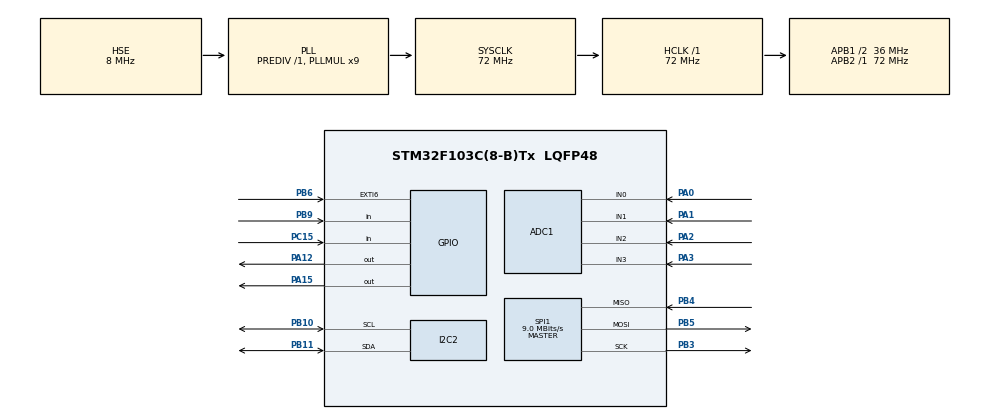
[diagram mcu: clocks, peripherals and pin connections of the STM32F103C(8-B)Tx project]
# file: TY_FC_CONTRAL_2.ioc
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ADC1.Channel-0\#ChannelRegularConversion=ADC_CHANNEL_0
ADC1.Channel-1\#ChannelRegularConversion=ADC_CHANNEL_1
ADC1.Channel-2\#ChannelRegularConversion=ADC_CHANNEL_2
ADC1.Channel-3\#ChannelRegularConversion=ADC_CHANNEL_3
ADC1.ContinuousConvMode=ENABLE
ADC1.NbrOfConversion=4
ADC1.NbrOfConversionFlag=1
ADC1.Rank-0\#ChannelRegularConversion=1
ADC1.Rank-1\#ChannelRegularConversion=2
ADC1.Rank-2\#ChannelRegularConversion=3
ADC1.Rank-3\#ChannelRegularConversion=4
ADC1.SamplingTime-0\#ChannelRegularConversion=ADC_SAMPLETIME_13CYCLES_5
ADC1.SamplingTime-1\#ChannelRegularConversion=ADC_SAMPLETIME_13CYCLES_5
ADC1.SamplingTime-2\#ChannelRegularConversion=ADC_SAMPLETIME_13CYCLES_5
ADC1.SamplingTime-3\#ChannelRegularConversion=ADC_SAMPLETIME_13CYCLES_5
ADC1.master=1
Dma.ADC1.0.Direction=DMA_PERIPH_TO_MEMORY
Dma.ADC1.0.Instance=DMA1_Channel1
Dma.ADC1.0.MemDataAlignment=DMA_MDATAALIGN_HALFWORD
Dma.ADC1.0.MemInc=DMA_MINC_ENABLE
Dma.ADC1.0.Mode=DMA_CIRCULAR
Dma.ADC1.0.PeriphDataAlignment=DMA_PDATAALIGN_HALFWORD
Dma.ADC1.0.PeriphInc=DMA_PINC_DISABLE
Dma.ADC1.0.Priority=DMA_PRIORITY_MEDIUM
Dma.Request0=ADC1
Mcu.Family=STM32F1
Mcu.Name=STM32F103C(8-B)Tx
Mcu.Package=LQFP48
NVIC.DMA1_Channel1_IRQn=true\:0\:0\:false\:false\:true\:false\:true\:true
NVIC.PriorityGroup=NVIC_PRIORITYGROUP_4
PA0-WKUP.Signal=SharedAnalog_PA0
PA1.Signal=SharedAnalog_PA1
PA12.Signal=GPIO_Output
PA15.Signal=GPIO_Output
PA2.Signal=SharedAnalog_PA2
PA3.Signal=SharedAnalog_PA3
PB10.Mode=I2C
PB10.Signal=I2C2_SCL
PB11.Mode=I2C
PB11.Signal=I2C2_SDA
PB3.Mode=Full_Duplex_Master
PB3.Signal=SPI1_SCK
PB4.Mode=Full_Duplex_Master
PB4.Signal=SPI1_MISO
PB5.Mode=Full_Duplex_Master
PB5.Signal=SPI1_MOSI
PB6.Signal=GPXTI6
PB9.Signal=GPIO_Input
PC15-OSC32_OUT.Signal=GPIO_Input
PD0-OSC_IN.Mode=HSE-External-Oscillator
PD0-OSC_IN.Signal=RCC_OSC_IN
PD1-OSC_OUT.Mode=HSE-External-Oscillator
PD1-OSC_OUT.Signal=RCC_OSC_OUT
ProjectManager.HeapSize=0x200
ProjectManager.StackSize=0x400
ProjectManager.TargetToolchain=MDK-ARM V5.32
RCC.ADCPresc=RCC_ADCPCLK2_DIV6
RCC.AHBFreq_Value=72000000
RCC.APB1CLKDivider=RCC_HCLK_DIV2
RCC.APB1Freq_Value=36000000
RCC.APB1TimFreq_Value=72000000
RCC.APB2Freq_Value=72000000
RCC.APB2TimFreq_Value=72000000
RCC.HCLKFreq_Value=72000000
RCC.PLLMUL=RCC_PLL_MUL9
RCC.PLLSourceVirtual=RCC_PLLSOURCE_HSE
RCC.SYSCLKFreq_VALUE=72000000
RCC.SYSCLKSource=RCC_SYSCLKSOURCE_PLLCLK
RCC.USBFreq_Value=72000000
SH.SharedAnalog_PA0.0=GPIO_Analog
SH.SharedAnalog_PA0.1=ADC1_IN0,IN0
SH.SharedAnalog_PA1.0=GPIO_Analog
SH.SharedAnalog_PA1.1=ADC1_IN1,IN1
SH.SharedAnalog_PA2.0=GPIO_Analog
SH.SharedAnalog_PA2.1=ADC1_IN2,IN2
SH.SharedAnalog_PA3.0=GPIO_Analog
SH.SharedAnalog_PA3.1=ADC1_IN3,IN3
SPI1.BaudRatePrescaler=SPI_BAUDRATEPRESCALER_8
SPI1.CalculateBaudRate=9.0 MBits/s
SPI1.Direction=SPI_DIRECTION_2LINES
SPI1.Mode=SPI_MODE_MASTER
SPI1.VirtualType=VM_MASTER
VP_SYS_VS_ND.Mode=No_Debug
board=custom

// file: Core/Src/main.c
/* USER CODE BEGIN Header */
/**
  ******************************************************************************
  * @file           : main.c
  * @brief          : Main program body
  ******************************************************************************
  * @attention
  *
  * Copyright (c) 2026 STMicroelectronics.
  * All rights reserved.
  *
  * This software is licensed under terms that can be found in the LICENSE file
  * in the root directory of this software component.
  * If no LICENSE file comes with this software, it is provided AS-IS.
  *
  ******************************************************************************
  */
/* USER CODE END Header */
#include "main.h"

/* USER CODE BEGIN Includes */
#include "ssd1306.h"
#include "NRF24L01.h"
#include "adc.h"
#include <math.h>
/* USER CODE END Includes */

/* USER CODE BEGIN PTD */
#define LOG_BUFFER_SIZE  512
#define OLED_LOG_ROWS 4
#define OLED_LOG_COLS 21
/* USER CODE END PTD */

ADC_HandleTypeDef hadc1;
DMA_HandleTypeDef hdma_adc1;

I2C_HandleTypeDef hi2c2;

SPI_HandleTypeDef hspi1;

/* USER CODE BEGIN PV */
void data_care(float *speed,float *roll,float *pitch);
/* USER CODE END PV */

void SystemClock_Config(void);
static void MX_GPIO_Init(void);
static void MX_DMA_Init(void);
static void MX_ADC1_Init(void);
static void MX_I2C2_Init(void);
static void MX_SPI1_Init(void);
/* USER CODE BEGIN PFP */
  float speed = 0;
  float roll = 0;
  float pitch = 0;
uint8_t exit_status = 0;
uint16_t adc_buffer[4];
//static char oled_log_buf[OLED_LOG_ROWS][OLED_LOG_COLS + 1] = {0};
//static uint8_t oled_log_row_idx = 0;
char oled_str_buf[20] = {0};
/* USER CODE END PFP */

/* USER CODE BEGIN 0 */
 uint8_t tx_addr[5] = {0x12, 0x34, 0x56, 0x78, 0x90};
 void Show_Msg(void);
 void Unsend_Show(void);
/* USER CODE END 0 */

int main(void)
{

  /* MCU Configuration--------------------------------------------------------*/

  /* Reset of all peripherals, Initializes the Flash interface and the Systick. */
  HAL_Init();

  /* Configure the system clock */
  SystemClock_Config();

  /* Initialize all configured peripherals */
  MX_GPIO_Init();
  MX_DMA_Init();
  MX_ADC1_Init();
  MX_I2C2_Init();
  MX_SPI1_Init();
  /* USER CODE BEGIN 2 */
  HAL_Delay(500);
  OLED_Init(hi2c2);
//  NRF_LOGI("STARTTEST");
  OLED_Refresh();

  HAL_ADC_Start_DMA(&hadc1, (uint32_t*)adc_buffer, 4);
  NRF_InitTypeDef nrf_init;
  NRF24L01_GetDefaultConfig(&nrf_init);
  NRF24L01_Init(&hspi1, &nrf_init);
  NRF24L01_SetMode(&hspi1, NRF_MODE_TX);
  unsigned char send_data1[32] = {0};
  uint8_t value = 0;
//  GPIO_PinState pin_state;
  /* USER CODE END 2 */

  /* Infinite loop */
  /* USER CODE BEGIN WHILE */
  while (1)
  {
	HAL_Delay(10);
	speed = 20.0f - ( (float)adc_buffer[2] / 4096.0f ) * 40.0f;
	roll = (float)adc_buffer[1]/4096*20-10;
	pitch = 10.0f - ( (float)adc_buffer[0] / 4096.0f ) * 20.0f;
	data_care(&speed,&roll,&pitch);
	if(fabs(speed)!=0.0||fabs(roll)!=0.0||fabs(pitch)!=0.0)
	{
		value = 1;
		sprintf((char*)send_data1, "%.1f %.1f %.1f", speed, roll, pitch);
		uint8_t send_len = strlen((char*)send_data1);
		NRF24L01_SimpleSend(send_data1,send_len);
		Show_Msg();
	}
	else if(value == 1)
	{
		speed = 0.0f;
		roll = 0.0f;
		pitch = 0.0f;
		sprintf((char*)send_data1, "%.1f %.1f %.1f", speed, roll, pitch);
		uint8_t send_len = strlen((char*)send_data1);
		NRF24L01_SimpleSend(send_data1,send_len);
		Show_Msg();
		value = 0;
	}
  else
  {
    Unsend_Show();
  }
//	  pin_state = HAL_GPIO_ReadPin(GPIOC, GPIO_PIN_15);
//	  if(pin_state == GPIO_PIN_RESET)
//	  {
//		NRF_LOGI("LOW");

//	  }
//	  NRF_LOGI("CH1: %lu", adc_buffer[0]);
//	  NRF_LOGI("CH2: %lu", adc_buffer[1]);
//	  NRF_LOGI("CH3: %lu", adc_buffer[2]);
//	  NRF_LOGI("CH4: %lu", adc_buffer[3]);
//	  if(adc_buffer[0] > 2100 || adc_buffer[0] < 2000 || adc_buffer[1] > 2100 || adc_buffer[1] < 2000 || adc_buffer[2] > 2100 || adc_buffer[2] < 2000)
//	  {

//		sprintf((char*)send_data1, "%.2f %.2f %.2f", speed, roll, pitch);
//		uint8_t send_len = strlen((char*)send_data1);
//		NRF24L01_SimpleSend(send_data1,send_len);
//		NRF_LOGI("SENDMESSAGE");

//		speed = 0;
//		roll = 0;
//		pitch = 0;
//	  }
	  //		NRF_LOGI("Speed: %d", speed);  // 第1行：速度值
//		NRF_LOGI("Roll: %d", roll);    // 第2行：横滚角
//		NRF_LOGI("Pitch: %d", pitch);  // 第3行：俯仰角
//	  else
//	  {
//		speed = 0;
//		roll = 0;
//		pitch = 0;
//		sprintf((char*)send_data1, "%.1f %.1f %.1f", speed, roll, pitch);
//		uint8_t send_len = strlen((char*)send_data1);
//		NRF24L01_SimpleSend(send_data1,send_len);
//		NRF_LOGI("Speed: %d", speed);  // 第1行：速度值
//		NRF_LOGI("Roll: %d", roll);    // 第2行：横滚角
//		NRF_LOGI("Pitch: %d", pitch);  // 第3行：俯仰角
//	  }
//	HAL_Delay(10);
//	HAL_Delay(100);
    /* USER CODE END WHILE */

  }
}

void SystemClock_Config(void)
{
  RCC_OscInitTypeDef RCC_OscInitStruct = {0};
  RCC_ClkInitTypeDef RCC_ClkInitStruct = {0};
  RCC_PeriphCLKInitTypeDef PeriphClkInit = {0};

  /** Initializes the RCC Oscillators according to the specified parameters
  * in the RCC_OscInitTypeDef structure.
  */
  RCC_OscInitStruct.OscillatorType = RCC_OSCILLATORTYPE_HSE;
  RCC_OscInitStruct.HSEState = RCC_HSE_ON;
  RCC_OscInitStruct.HSEPredivValue = RCC_HSE_PREDIV_DIV1;
  RCC_OscInitStruct.HSIState = RCC_HSI_ON;
  RCC_OscInitStruct.PLL.PLLState = RCC_PLL_ON;
  RCC_OscInitStruct.PLL.PLLSource = RCC_PLLSOURCE_HSE;
  RCC_OscInitStruct.PLL.PLLMUL = RCC_PLL_MUL9;
  if (HAL_RCC_OscConfig(&RCC_OscInitStruct) != HAL_OK)
  {
    Error_Handler();
  }

  /** Initializes the CPU, AHB and APB buses clocks
  */
  RCC_ClkInitStruct.ClockType = RCC_CLOCKTYPE_HCLK|RCC_CLOCKTYPE_SYSCLK
                              |RCC_CLOCKTYPE_PCLK1|RCC_CLOCKTYPE_PCLK2;
  RCC_ClkInitStruct.SYSCLKSource = RCC_SYSCLKSOURCE_PLLCLK;
  RCC_ClkInitStruct.AHBCLKDivider = RCC_SYSCLK_DIV1;
  RCC_ClkInitStruct.APB1CLKDivider = RCC_HCLK_DIV2;
  RCC_ClkInitStruct.APB2CLKDivider = RCC_HCLK_DIV1;

  if (HAL_RCC_ClockConfig(&RCC_ClkInitStruct, FLASH_LATENCY_2) != HAL_OK)
  {
    Error_Handler();
  }
  PeriphClkInit.PeriphClockSelection = RCC_PERIPHCLK_ADC;
  PeriphClkInit.AdcClockSelection = RCC_ADCPCLK2_DIV6;
  if (HAL_RCCEx_PeriphCLKConfig(&PeriphClkInit) != HAL_OK)
  {
    Error_Handler();
  }
}

static void MX_ADC1_Init(void)
{

  ADC_ChannelConfTypeDef sConfig = {0};

  /** Common config
  */
  hadc1.Instance = ADC1;
  hadc1.Init.ScanConvMode = ADC_SCAN_ENABLE;
  hadc1.Init.ContinuousConvMode = ENABLE;
  hadc1.Init.DiscontinuousConvMode = DISABLE;
  hadc1.Init.ExternalTrigConv = ADC_SOFTWARE_START;
  hadc1.Init.DataAlign = ADC_DATAALIGN_RIGHT;
  hadc1.Init.NbrOfConversion = 4;
  if (HAL_ADC_Init(&hadc1) != HAL_OK)
  {
    Error_Handler();
  }

  /** Configure Regular Channel
  */
  sConfig.Channel = ADC_CHANNEL_0;
  sConfig.Rank = ADC_REGULAR_RANK_1;
  sConfig.SamplingTime = ADC_SAMPLETIME_13CYCLES_5;
  if (HAL_ADC_ConfigChannel(&hadc1, &sConfig) != HAL_OK)
  {
    Error_Handler();
  }

  /** Configure Regular Channel
  */
  sConfig.Channel = ADC_CHANNEL_1;
  sConfig.Rank = ADC_REGULAR_RANK_2;
  if (HAL_ADC_ConfigChannel(&hadc1, &sConfig) != HAL_OK)
  {
    Error_Handler();
  }

  /** Configure Regular Channel
  */
  sConfig.Channel = ADC_CHANNEL_2;
  sConfig.Rank = ADC_REGULAR_RANK_3;
  if (HAL_ADC_ConfigChannel(&hadc1, &sConfig) != HAL_OK)
  {
    Error_Handler();
  }

  /** Configure Regular Channel
  */
  sConfig.Channel = ADC_CHANNEL_3;
  sConfig.Rank = ADC_REGULAR_RANK_4;
  if (HAL_ADC_ConfigChannel(&hadc1, &sConfig) != HAL_OK)
  {
    Error_Handler();
  }

}

static void MX_I2C2_Init(void)
{

  hi2c2.Instance = I2C2;
  hi2c2.Init.ClockSpeed = 100000;
  hi2c2.Init.DutyCycle = I2C_DUTYCYCLE_2;
  hi2c2.Init.OwnAddress1 = 0;
  hi2c2.Init.AddressingMode = I2C_ADDRESSINGMODE_7BIT;
  hi2c2.Init.DualAddressMode = I2C_DUALADDRESS_DISABLE;
  hi2c2.Init.OwnAddress2 = 0;
  hi2c2.Init.GeneralCallMode = I2C_GENERALCALL_DISABLE;
  hi2c2.Init.NoStretchMode = I2C_NOSTRETCH_DISABLE;
  if (HAL_I2C_Init(&hi2c2) != HAL_OK)
  {
    Error_Handler();
  }

}

static void MX_SPI1_Init(void)
{

  /* SPI1 parameter configuration*/
  hspi1.Instance = SPI1;
  hspi1.Init.Mode = SPI_MODE_MASTER;
  hspi1.Init.Direction = SPI_DIRECTION_2LINES;
  hspi1.Init.DataSize = SPI_DATASIZE_8BIT;
  hspi1.Init.CLKPolarity = SPI_POLARITY_LOW;
  hspi1.Init.CLKPhase = SPI_PHASE_1EDGE;
  hspi1.Init.NSS = SPI_NSS_SOFT;
  hspi1.Init.BaudRatePrescaler = SPI_BAUDRATEPRESCALER_16;
  hspi1.Init.FirstBit = SPI_FIRSTBIT_MSB;
  hspi1.Init.TIMode = SPI_TIMODE_DISABLE;
  hspi1.Init.CRCCalculation = SPI_CRCCALCULATION_DISABLE;
  hspi1.Init.CRCPolynomial = 10;
  if (HAL_SPI_Init(&hspi1) != HAL_OK)
  {
    Error_Handler();
  }

}

static void MX_DMA_Init(void)
{

  /* DMA controller clock enable */
  __HAL_RCC_DMA1_CLK_ENABLE();

  /* DMA interrupt init */
  /* DMA1_Channel1_IRQn interrupt configuration */
  HAL_NVIC_SetPriority(DMA1_Channel1_IRQn, 0, 0);
  HAL_NVIC_EnableIRQ(DMA1_Channel1_IRQn);

}

static void MX_GPIO_Init(void)
{
  GPIO_InitTypeDef GPIO_InitStruct = {0};

  /* GPIO Ports Clock Enable */
  __HAL_RCC_GPIOC_CLK_ENABLE();
  __HAL_RCC_GPIOD_CLK_ENABLE();
  __HAL_RCC_GPIOA_CLK_ENABLE();
  __HAL_RCC_GPIOB_CLK_ENABLE();

  /*Configure GPIO pin Output Level */
  HAL_GPIO_WritePin(GPIOA, GPIO_PIN_12|GPIO_PIN_15, GPIO_PIN_RESET);

  /*Configure GPIO pin : PC15 */
  GPIO_InitStruct.Pin = GPIO_PIN_15;
  GPIO_InitStruct.Mode = GPIO_MODE_INPUT;
  GPIO_InitStruct.Pull = GPIO_PULLUP;
  HAL_GPIO_Init(GPIOC, &GPIO_InitStruct);

  /*Configure GPIO pins : PA12 PA15 */
  GPIO_InitStruct.Pin = GPIO_PIN_12|GPIO_PIN_15;
  GPIO_InitStruct.Mode = GPIO_MODE_OUTPUT_PP;
  GPIO_InitStruct.Pull = GPIO_NOPULL;
  GPIO_InitStruct.Speed = GPIO_SPEED_FREQ_LOW;
  HAL_GPIO_Init(GPIOA, &GPIO_InitStruct);

  /*Configure GPIO pin : PB6 */
  GPIO_InitStruct.Pin = GPIO_PIN_6;
  GPIO_InitStruct.Mode = GPIO_MODE_IT_RISING;
  GPIO_InitStruct.Pull = GPIO_NOPULL;
  HAL_GPIO_Init(GPIOB, &GPIO_InitStruct);

  /*Configure GPIO pin : PB9 */
  GPIO_InitStruct.Pin = GPIO_PIN_9;
  GPIO_InitStruct.Mode = GPIO_MODE_INPUT;
  GPIO_InitStruct.Pull = GPIO_PULLUP;
  HAL_GPIO_Init(GPIOB, &GPIO_InitStruct);

}

/* USER CODE BEGIN 4 */

void HAL_GPIO_EXTI_Callback(uint16_t GPIO_Pin)
{
  // 仅处理PB6的中断（避免EXTI5-EXTI9其他引脚干扰）
  if(GPIO_Pin == GPIO_PIN_6)
  {
    /* USER CODE BEGIN PB6中断处理逻辑 */
    // 示例：比如处理NRF24L01+的IRQ中断（你之前关注的场景）
    // 1. 延时消抖（可选，根据硬件情况）
    // 2. 确认引脚仍为低电平（消抖验证）
    if(HAL_GPIO_ReadPin(GPIOB, GPIO_PIN_6) == GPIO_PIN_RESET)
    {
		exit_status = 1;
		NRF24L01_ClearInterruptFlags(&hspi1,NRF_STATUS_RX_DR | NRF_STATUS_TX_DS | NRF_STATUS_MAX_RT);
    }
    /* USER CODE END PB6中断处理逻辑 */
  }
}

void Show_Msg(void)
{
    // 第一行：CH1: 数值  (y=0  上半区)
    OLED_DrawStr(0, 0, (uint8_t*)"speed:");
    OLED_ShowFloat(36, 0, speed, 2,1);  // 显示5位数字

    // 第二行：CH2: 数值  (y=8)
    OLED_DrawStr(0, 8, (uint8_t*)"pitch:");
    OLED_ShowFloat(36, 8, pitch, 2,1);

    // 第三行：CH3: 数值  (y=16 下半区)
    OLED_DrawStr(0, 16, (uint8_t*)"roll:");
    OLED_ShowFloat(36, 16, roll, 2,1);

    OLED_DrawStr(0, 24, (uint8_t*)"SENDING");
    // 第四行：CH4: 数值  (y=24)
//    OLED_DrawStr(0, 24, (uint8_t*)"CH4: ");
//    OLED_ShowNum(36, 24, adc_buffer[3], 5);

    // 刷新整个屏幕（你驱动自带的标准刷新）
    OLED_Refresh();
}

void Unsend_Show(void)
{
  OLED_DrawStr(0, 24, (uint8_t*)"UNSENDING");
  OLED_Refresh();
}

void data_care(float *speed,float *roll,float *pitch)
{
	if(fabs(*speed)<0.8)
		*speed = 0.0f;
	if(fabs(*roll)<0.5)
		*roll = 0.0f;
	if(fabs(*pitch)<0.5)
		*pitch = 0.0f;
}
/* USER CODE END 4 */

void Error_Handler(void)
{
  __disable_irq();
  while (1)
  {
  }
}
